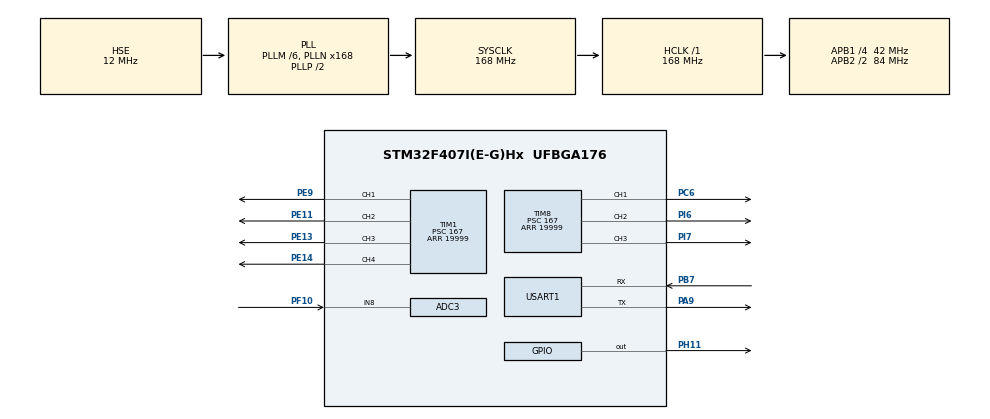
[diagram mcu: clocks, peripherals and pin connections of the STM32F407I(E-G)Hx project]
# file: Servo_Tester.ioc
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ADC1.Channel-0\#ChannelRegularConversion=ADC_CHANNEL_VREFINT
ADC1.NbrOfConversionFlag=1
ADC1.Rank-0\#ChannelRegularConversion=1
ADC1.SamplingTime-0\#ChannelRegularConversion=ADC_SAMPLETIME_3CYCLES
ADC1.master=1
ADC3.Channel-0\#ChannelRegularConversion=ADC_CHANNEL_8
ADC3.NbrOfConversionFlag=1
ADC3.Rank-0\#ChannelRegularConversion=1
ADC3.SamplingTime-0\#ChannelRegularConversion=ADC_SAMPLETIME_3CYCLES
Dma.Request0=USART1_RX
Dma.Request1=USART1_TX
Dma.USART1_RX.0.Direction=DMA_PERIPH_TO_MEMORY
Dma.USART1_RX.0.FIFOMode=DMA_FIFOMODE_DISABLE
Dma.USART1_RX.0.Instance=DMA2_Stream2
Dma.USART1_RX.0.MemDataAlignment=DMA_MDATAALIGN_BYTE
Dma.USART1_RX.0.MemInc=DMA_MINC_ENABLE
Dma.USART1_RX.0.Mode=DMA_NORMAL
Dma.USART1_RX.0.PeriphDataAlignment=DMA_PDATAALIGN_BYTE
Dma.USART1_RX.0.PeriphInc=DMA_PINC_DISABLE
Dma.USART1_RX.0.Priority=DMA_PRIORITY_LOW
Dma.USART1_TX.1.Direction=DMA_MEMORY_TO_PERIPH
Dma.USART1_TX.1.FIFOMode=DMA_FIFOMODE_DISABLE
Dma.USART1_TX.1.Instance=DMA2_Stream7
Dma.USART1_TX.1.MemDataAlignment=DMA_MDATAALIGN_BYTE
Dma.USART1_TX.1.MemInc=DMA_MINC_ENABLE
Dma.USART1_TX.1.Mode=DMA_NORMAL
Dma.USART1_TX.1.PeriphDataAlignment=DMA_PDATAALIGN_BYTE
Dma.USART1_TX.1.PeriphInc=DMA_PINC_DISABLE
Dma.USART1_TX.1.Priority=DMA_PRIORITY_LOW
Mcu.Family=STM32F4
Mcu.Name=STM32F407I(E-G)Hx
Mcu.Package=UFBGA176
NVIC.DMA2_Stream2_IRQn=true\:0\:0\:false\:false\:true\:false\:true\:true
NVIC.DMA2_Stream7_IRQn=true\:0\:0\:false\:false\:true\:false\:true\:true
NVIC.PriorityGroup=NVIC_PRIORITYGROUP_4
NVIC.USART1_IRQn=true\:0\:0\:false\:false\:true\:true\:true\:true
PA13.Mode=Serial_Wire
PA13.Signal=SYS_JTMS-SWDIO
PA14.Mode=Serial_Wire
PA14.Signal=SYS_JTCK-SWCLK
PA9.Mode=Asynchronous
PA9.Signal=USART1_TX
PB7.Mode=Asynchronous
PB7.Signal=USART1_RX
PC6.Signal=S_TIM8_CH1
PE11.Signal=S_TIM1_CH2
PE13.Signal=S_TIM1_CH3
PE14.Signal=S_TIM1_CH4
PE9.Signal=S_TIM1_CH1
PF10.Mode=IN8
PF10.Signal=ADC3_IN8
PH0-OSC_IN.Mode=HSE-External-Oscillator
PH0-OSC_IN.Signal=RCC_OSC_IN
PH1-OSC_OUT.Mode=HSE-External-Oscillator
PH1-OSC_OUT.Signal=RCC_OSC_OUT
PH11.Signal=GPIO_Output
PI6.Signal=S_TIM8_CH2
PI7.Signal=S_TIM8_CH3
ProjectManager.HeapSize=0x200
ProjectManager.StackSize=0x400
ProjectManager.TargetToolchain=STM32CubeIDE
RCC.48MHZClocksFreq_Value=84000000
RCC.AHBFreq_Value=168000000
RCC.APB1CLKDivider=RCC_HCLK_DIV4
RCC.APB1Freq_Value=42000000
RCC.APB1TimFreq_Value=84000000
RCC.APB2CLKDivider=RCC_HCLK_DIV2
RCC.APB2Freq_Value=84000000
RCC.APB2TimFreq_Value=168000000
RCC.CortexFreq_Value=168000000
RCC.HCLKFreq_Value=168000000
RCC.HSE_VALUE=12000000
RCC.HSI_VALUE=16000000
RCC.LSE_VALUE=32768
RCC.PLLM=6
RCC.PLLN=168
RCC.PLLSourceVirtual=RCC_PLLSOURCE_HSE
RCC.SYSCLKFreq_VALUE=168000000
RCC.SYSCLKSource=RCC_SYSCLKSOURCE_PLLCLK
RCC.VCOOutputFreq_Value=336000000
SH.S_TIM1_CH1.0=TIM1_CH1,PWM Generation1 CH1
SH.S_TIM1_CH2.0=TIM1_CH2,PWM Generation2 CH2
SH.S_TIM1_CH3.0=TIM1_CH3,PWM Generation3 CH3
SH.S_TIM1_CH4.0=TIM1_CH4,PWM Generation4 CH4
SH.S_TIM8_CH1.0=TIM8_CH1,PWM Generation1 CH1
SH.S_TIM8_CH2.0=TIM8_CH2,PWM Generation2 CH2
SH.S_TIM8_CH3.0=TIM8_CH3,PWM Generation3 CH3
TIM1.Channel-PWM\ Generation1\ CH1=TIM_CHANNEL_1
TIM1.Channel-PWM\ Generation2\ CH2=TIM_CHANNEL_2
TIM1.Channel-PWM\ Generation3\ CH3=TIM_CHANNEL_3
TIM1.Channel-PWM\ Generation4\ CH4=TIM_CHANNEL_4
TIM1.Period=19999
TIM1.Prescaler=167
TIM8.Channel-PWM\ Generation1\ CH1=TIM_CHANNEL_1
TIM8.Channel-PWM\ Generation2\ CH2=TIM_CHANNEL_2
TIM8.Channel-PWM\ Generation3\ CH3=TIM_CHANNEL_3
TIM8.Period=19999
TIM8.Prescaler=167
USART1.VirtualMode=VM_ASYNC
VP_ADC1_TempSens_Input.Mode=IN-TempSens
VP_ADC1_Vref_Input.Mode=IN-Vrefint
board=custom

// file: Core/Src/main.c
/* USER CODE BEGIN Header */
/**
  ******************************************************************************
  * @file           : main.c
  * @brief          : Main program body
  ******************************************************************************
  * @attention
  *
  * Copyright (c) 2024 STMicroelectronics.
  * All rights reserved.
  *
  * This software is licensed under terms that can be found in the LICENSE file
  * in the root directory of this software component.
  * If no LICENSE file comes with this software, it is provided AS-IS.
  *
  ******************************************************************************
  */
/* USER CODE END Header */
#include "main.h"
#include "adc.h"
#include "dma.h"
#include "tim.h"
#include "usart.h"
#include "gpio.h"

/* USER CODE BEGIN Includes */
#include <stdio.h>
#include <stdlib.h>
#include <string.h>
#include "retarget.h"
/* USER CODE END Includes */

/* USER CODE BEGIN PD */
#define NO 0
#define YES 1
#define PWM_MAX 2500
#define PWM_MIN 500
/* USER CODE END PD */

/* USER CODE BEGIN PV */
int angle = 0;
uint8_t uint8_angle[128] = {0};
uint8_t angle_lower[128] = {0};
uint8_t angle_upper[128] = {0};
uint8_t number_channels[1] = {0};
int Compare = 0;
uint8_t optNumber[50] = {0};
volatile double voltage_vrefint_proportion = 8.0586080586080586080586080586081e-4f;
/* USER CODE END PV */

void SystemClock_Config(void);

/* USER CODE BEGIN PFP */
int trans2Compare(int a);

void plain_servo_test(int if_multi);

void interval_servo_test(int if_multi);

int rtnTIMCHANNEL(int num);

void quick_servo_test(int if_multi);

void ShowList();

void use_multi_channels();

void use_direct_PWM();

int deterifHELP(const uint8_t *String);

void deterPWMChannel(uint8_t number[], int compare);

double get_battery_voltage(void);

int init_vrefint_reciprocal(void);

static uint16_t adcx_get_chx_value(ADC_HandleTypeDef *ADCx, uint32_t ch);

/* USER CODE END PFP */

/* USER CODE BEGIN 0 */
static uint16_t adcx_get_chx_value(ADC_HandleTypeDef *ADCx, uint32_t ch) {
    static ADC_ChannelConfTypeDef sConfig = {0};
    sConfig.Channel = ch;
    sConfig.Rank = 1;
    sConfig.SamplingTime = ADC_SAMPLETIME_3CYCLES; //ADC_SAMPLETIME_3CYCLES;
    if (HAL_ADC_ConfigChannel(ADCx, &sConfig) != HAL_OK) {
        Error_Handler();
    }
    HAL_ADC_Start(ADCx);
    HAL_ADC_PollForConversion(ADCx, 10);
    return (uint16_t) HAL_ADC_GetValue(ADCx);
}

int init_vrefint_reciprocal(void) {
    uint8_t i = 0;
    uint32_t total_adc = 0;
    for (i = 0; i < 200; i++) {
        total_adc += adcx_get_chx_value(&hadc1, ADC_CHANNEL_VREFINT);
    }
    voltage_vrefint_proportion = 200 * 1.2f / total_adc;
    return 0;
}

double get_battery_voltage(void) {
    double voltage;
    uint16_t adcx = 0;
    adcx = adcx_get_chx_value(&hadc3, ADC_CHANNEL_8);
    //(22K �� + 200K ��)  / 22K �� = 10.090909090909090909090909090909
    voltage = (double) adcx * voltage_vrefint_proportion * 10.090909090909090909090909090909f;
    return voltage;
}

int trans2Compare(int a) {
    return (a * 1.0f / 180) * (PWM_MAX - PWM_MIN) + PWM_MIN;
}

void use_direct_PWM() {
    uint8_t uint8_PWM_value[1] = {0};
    int int_PWM_value;
    HAL_Delay(100);
    printf("\r\nPlease input direct PWM value\r\n");
    scanf("%s", uint8_PWM_value);
    HAL_Delay(100);
    int_PWM_value = atoi(uint8_PWM_value);
    printf("Setting...");
    HAL_Delay(100);
    __HAL_TIM_SetCompare(&htim1, TIM_CHANNEL_1, int_PWM_value);
    HAL_Delay(100);
    printf("Set OK");
}

void ShowList() {
    HAL_Delay(100);
    printf("\r\n########## Welcome to Embeded Toolbox ##########\r\n");
    HAL_Delay(100);
    printf("\r\nPlease select from below: \r\n");
    printf("\r\n1. Plain Servo Test\r\n"
        "\r\n2. Interval Servo Test\r\n"
        "\r\n3. Quick Servo Test\r\n"
        "\r\n4. Use Multi Channels\r\n"
        "\r\n5. Direct Servo Test (PWM500-2500)\r\n");
    HAL_Delay(100);
    printf("\r\nYou can input \"help\" or \"HELP\" to get help\r\n");
    printf("\r\nBattery voltage is %.2f\r\n", get_battery_voltage());
}

void plain_servo_test(int if_multi) {
    HAL_Delay(100);
    printf("\r\nPlease input your intended angle: \r\n");
    scanf("%s", uint8_angle);
    while (1) {
        angle = atoi(uint8_angle);
        if (angle > 180 || angle < 0) {
            printf("\r\nAngle is invalid, please check your input!\r\n");
            HAL_Delay(1000);
            if (NO == if_multi) {
                plain_servo_test(NO);
            } else {
                plain_servo_test(YES);
            }
        }
        HAL_Delay(100);
        printf("\r\nAngle is %d\r\n", angle);
        HAL_Delay(100);
        printf("\r\nSetting...\r\n");
        HAL_Delay(100);
        if (NO == if_multi) {
            __HAL_TIM_SetCompare(&htim1, TIM_CHANNEL_1, trans2Compare(angle));
        } else {
            deterPWMChannel(number_channels, trans2Compare(angle));
        }
        printf("\r\nSet OK\r\n");
        HAL_Delay(100);
        printf("\r\nYou can input \"quit\" or \"QUIT\" to quit servo test or input angle to continue\r\n");
        scanf("%s", uint8_angle);
        if (NO == strcmp(uint8_angle, "quit") || NO == strcmp(uint8_angle, "QUIT")) {
            return;
        }
    }
}

void use_multi_channels() {
    HAL_Delay(100);
    printf("\r\nPlease input the number of enabled channels\r\n");
    scanf("%s", number_channels);
    HAL_Delay(100);
    printf("\r\nPlease select from below: \r\n");
    printf("\r\n1. Plain Servo Test\r\n"
        "\r\n2. Interval Servo Test\r\n"
        "\r\n3. Quick Servo Test\r\n"
        "\r\n4. Direct Servo Test (PWM500-2500)\r\n");
    scanf("%s", optNumber);
    HAL_Delay(100);
    if (atoi(optNumber) == 1) {
        plain_servo_test(YES);
    }
    if (atoi(optNumber) == 2) {
        interval_servo_test(YES);
    }
    if (atoi(optNumber) == 3) {
        quick_servo_test(YES);
    }
    if (atoi(optNumber) == 4) {
        use_direct_PWM();
    }
}

void interval_servo_test(int if_multi) {
    int int_angle_lower, int_angle_upper, angle_lower_compare, angle_upper_compare;
    HAL_Delay(100);
    printf("\r\nPlease input the lower, upper limits and step length of the angle: \r\n");
    scanf("%s %s", angle_lower, angle_upper);
    while (1) {
        int_angle_lower = atoi(angle_lower);
        int_angle_upper = atoi(angle_upper);
        if (!(0 <= int_angle_lower && int_angle_lower <= 180 &&
              0 <= int_angle_upper && int_angle_upper <= 180 &&
              int_angle_lower <= int_angle_upper)) {
            printf("\r\nAngle is invalid, please check your input!\r\n");
            HAL_Delay(1000);
            if (NO == if_multi) {
                interval_servo_test(NO);
            } else {
                interval_servo_test(YES);
            }
        }
        angle_lower_compare = trans2Compare(int_angle_lower);
        angle_upper_compare = trans2Compare(int_angle_upper);
        if (NO == if_multi) {
            __HAL_TIM_SetCompare(&htim1, TIM_CHANNEL_1, angle_lower_compare);
        } else {
            deterPWMChannel(number_channels, angle_lower_compare);
        }
        HAL_Delay(100);
        printf("\r\nLower angle is %d ��\r\n", int_angle_lower);
        printf("\r\nUpper angle is %d ��\r\n", int_angle_upper);
        HAL_Delay(1000);
        printf("\r\nRotating...\r\n");
        HAL_Delay(200);
        for (int i = angle_lower_compare; i < angle_upper_compare; i += 20) {
            HAL_Delay(10);
            if (NO == if_multi) {
                __HAL_TIM_SetCompare(&htim1, TIM_CHANNEL_1, i);
            } else {
                deterPWMChannel(number_channels, i);
            }
        }
        printf("\r\nRotate Finished\r\n");
        HAL_Delay(100);
        printf("\r\nYou can input \"quit\" or \"QUIT\" to quit servo test or input angle to continue\r\n");
        scanf("%s", angle_lower);
        if (NO == strcmp(angle_lower, "quit") || NO == strcmp(angle_lower, "QUIT")) {
            return;
        }
        scanf("%s", angle_upper);
    }
}

void quick_servo_test(int if_multi) {
    HAL_Delay(100);
    printf("\r\nBegin quick servo test\r\n");
    HAL_Delay(100);
    for (int i = 500; i < 2500; i += 10) {
        HAL_Delay(10);
        if (NO == if_multi) {
            __HAL_TIM_SetCompare(&htim1, TIM_CHANNEL_1, i);
        } else {
            deterPWMChannel(number_channels, i);
        }
    }
    HAL_Delay(100);
    printf("\r\nQuick servo test finish\r\n");
    HAL_Delay(100);
    printf("\r\nGo back...\r\n");
    HAL_Delay(1000);
}

int rtnTIMCHANNEL(int num) {
    if (num == 1) {
        return TIM_CHANNEL_1;
    } else if (num == 2) {
        return TIM_CHANNEL_2;
    } else if (num == 3) {
        return TIM_CHANNEL_3;
    } else return TIM_CHANNEL_4;
}

void deterPWMChannel(uint8_t number[], int compare) {
    int int_number = atoi(number);
    if (int_number <= 4) {
        for (int i = 1; i <= int_number; i++) {
            __HAL_TIM_SetCompare(&htim1, rtnTIMCHANNEL(i), compare);
        }
    } else {
        __HAL_TIM_SetCompare(&htim1, TIM_CHANNEL_ALL, compare);
        for (int i = 1; i < int_number - 3; i++) {
            __HAL_TIM_SetCompare(&htim8, rtnTIMCHANNEL(i), compare);
        }
    }
}

int deterifHELP(const uint8_t *String) {
    if (NO == strcmp(String, "HELP") || NO == strcmp(String, "help")) {
        HAL_Delay(100);
        printf("\r\nAuthor: MDLZCOOL\r\n"
            "\r\nWebsite: https://mdlzcool.github.io\r\n"
            "\r\nEmail: mdlzcool@foxmail.com\r\n"
            "\r\nGithub: https://github.com/MDLZCOOL/Devolopment-C-Board-Servo_Tester\r\n");
        HAL_Delay(1000);
        return YES;
    } else return NO;
}

/* USER CODE END 0 */

int main(void) {

    /* MCU Configuration--------------------------------------------------------*/

    /* Reset of all peripherals, Initializes the Flash interface and the Systick. */
    HAL_Init();

    /* Configure the system clock */
    SystemClock_Config();

    /* Initialize all configured peripherals */
    MX_GPIO_Init();
    MX_DMA_Init();
    MX_TIM1_Init();
    MX_USART1_UART_Init();
    MX_TIM8_Init();
    MX_ADC1_Init();
    MX_ADC3_Init();
    /* USER CODE BEGIN 2 */
    HAL_TIM_Base_Start(&htim1);
    HAL_TIM_Base_Start(&htim8);
    HAL_TIM_PWM_Start(&htim1, TIM_CHANNEL_1);
    HAL_TIM_PWM_Start(&htim1, TIM_CHANNEL_2);
    HAL_TIM_PWM_Start(&htim1, TIM_CHANNEL_3);
    HAL_TIM_PWM_Start(&htim1, TIM_CHANNEL_4);
    HAL_TIM_PWM_Start(&htim8, TIM_CHANNEL_1);
    HAL_TIM_PWM_Start(&htim8, TIM_CHANNEL_2);
    HAL_TIM_PWM_Start(&htim8, TIM_CHANNEL_3);
    RetargetInit(&huart1);
    init_vrefint_reciprocal();
    /* USER CODE END 2 */

    /* Infinite loop */
    /* USER CODE BEGIN WHILE */
    while (1) {
        ShowList();
        scanf("%s", optNumber);
        deterifHELP(optNumber);

        int num = atoi(optNumber);

        switch (num) {
            case 1:
                plain_servo_test(NO);
                break;
            case 2:
                interval_servo_test(NO);
                break;
            case 3:
                quick_servo_test(NO);
                break;
            case 4:
                use_multi_channels();
                break;
            case 5:
                use_direct_PWM();
                break;
            default:
                printf("Invalid option number: %s\n", optNumber);
                break;
        }
        /* USER CODE END WHILE */

    }
}

void SystemClock_Config(void) {
    RCC_OscInitTypeDef RCC_OscInitStruct = {0};
    RCC_ClkInitTypeDef RCC_ClkInitStruct = {0};

    /** Configure the main internal regulator output voltage
    */
    __HAL_RCC_PWR_CLK_ENABLE();
    __HAL_PWR_VOLTAGESCALING_CONFIG(PWR_REGULATOR_VOLTAGE_SCALE1);

    /** Initializes the RCC Oscillators according to the specified parameters
    * in the RCC_OscInitTypeDef structure.
    */
    RCC_OscInitStruct.OscillatorType = RCC_OSCILLATORTYPE_HSE;
    RCC_OscInitStruct.HSEState = RCC_HSE_ON;
    RCC_OscInitStruct.PLL.PLLState = RCC_PLL_ON;
    RCC_OscInitStruct.PLL.PLLSource = RCC_PLLSOURCE_HSE;
    RCC_OscInitStruct.PLL.PLLM = 6;
    RCC_OscInitStruct.PLL.PLLN = 168;
    RCC_OscInitStruct.PLL.PLLP = RCC_PLLP_DIV2;
    RCC_OscInitStruct.PLL.PLLQ = 4;
    if (HAL_RCC_OscConfig(&RCC_OscInitStruct) != HAL_OK) {
        Error_Handler();
    }

    /** Initializes the CPU, AHB and APB buses clocks
    */
    RCC_ClkInitStruct.ClockType = RCC_CLOCKTYPE_HCLK | RCC_CLOCKTYPE_SYSCLK
                                  | RCC_CLOCKTYPE_PCLK1 | RCC_CLOCKTYPE_PCLK2;
    RCC_ClkInitStruct.SYSCLKSource = RCC_SYSCLKSOURCE_PLLCLK;
    RCC_ClkInitStruct.AHBCLKDivider = RCC_SYSCLK_DIV1;
    RCC_ClkInitStruct.APB1CLKDivider = RCC_HCLK_DIV4;
    RCC_ClkInitStruct.APB2CLKDivider = RCC_HCLK_DIV2;

    if (HAL_RCC_ClockConfig(&RCC_ClkInitStruct, FLASH_LATENCY_5) != HAL_OK) {
        Error_Handler();
    }
}

void Error_Handler(void) {
    __disable_irq();
    while (1) {
    }
}
